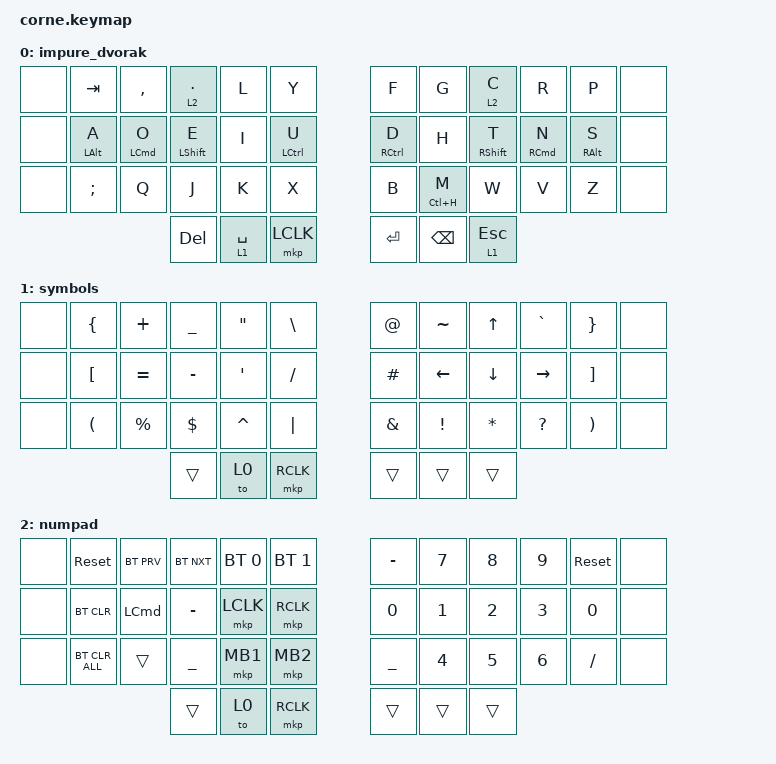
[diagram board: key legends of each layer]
/*
 * Copyright (c) 2020 The ZMK Contributors
 *
 * SPDX-License-Identifier: MIT
 */

#include <behaviors.dtsi>
#include <dt-bindings/zmk/bt.h>
#include <dt-bindings/zmk/keys.h>
#include <dt-bindings/zmk/pointing.h>

&mt { flavor = "tap-preferred"; };

/ {
    combos {
        compatible = "zmk,combos";

        capsword {
            bindings = <&caps_word>;
            key-positions = <4 7>;
        };

        vim_write {
            bindings = <&vim_write>;
            key-positions = <27 32>;
        };

        left_slide {
            bindings = <&kp LC(LEFT)>;
            key-positions = <25 19>;
        };

        right_slide {
            bindings = <&kp RC(RIGHT)>;
            key-positions = <34 16>;
        };

        sticky_shift {
            bindings = <&sk LEFT_SHIFT>;
            key-positions = <15 20>;
        };

        vim_wq {
            bindings = <&none>;
            key-positions = <32 26>;
        };
    };

    macros {
        vim_write: vim_write {
            compatible = "zmk,behavior-macro";
            #binding-cells = <0>;
            bindings = <&kp COLON &kp W &kp ENTER>;
            label = "VIM_WRITE";
        };

        vim_write_quit: vim_write_quit {
            compatible = "zmk,behavior-macro";
            #binding-cells = <0>;
            bindings = <&kp COLON &kp W &kp Q &kp ENTER>;
            label = "VIM_WRITE_QUIT";
        };
    };

    keymap {
        compatible = "zmk,keymap";

        impure_dvorak {
            // -----------------------------------------------------------------------------------------
            // |  TAB |  Q  |  W  |  E  |  R  |  T  |   |  Y  |  U   |  I  |  O  |  P  | BSPC |
            // | CTRL |  A  |  S  |  D  |  F  |  G  |   |  H  |  J   |  K  |  L  |  ;  |  '   |
            // | SHFT |  Z  |  X  |  C  |  V  |  B  |   |  N  |  M   |  ,  |  .  |  /  | ESC  |
            //                    | GUI | LWR | SPC |   | ENT | RSE  | ALT |

            bindings = <
&none  &kp TAB         &kp COMMA           &lt 2 DOT         &kp L        &kp Y          &kp F        &kp G          &lt 2 C            &kp R                &kp P            &none
&none  &mt LEFT_ALT A  &mt LEFT_COMMAND O  &mt LEFT_SHIFT E  &kp I        &mt LCTRL U    &mt RCTRL D  &kp H          &mt RIGHT_SHIFT T  &mt RIGHT_COMMAND N  &mt RIGHT_ALT S  &none
&none  &kp SEMI        &kp Q               &kp J             &kp K        &kp X          &kp B        &mt LC(H) M    &kp W              &kp V                &kp Z            &none
                                           &kp DELETE        &lt 1 SPACE  &mkp LCLK      &kp RETURN   &kp BACKSPACE  &lt 1 ESCAPE
            >;
        };

        symbols {
            // -----------------------------------------------------------------------------------------
            // |  TAB |  1  |  2  |  3  |  4  |  5  |   |  6  |  7  |  8  |  9  |  0  | BSPC |
            // | BTCLR| BT1 | BT2 | BT3 | BT4 | BT5 |   | LFT | DWN |  UP | RGT |     |      |
            // | SHFT |     |     |     |     |     |   |     |     |     |     |     |      |
            //                    | GUI |     | SPC |   | ENT |     | ALT |

            bindings = <
&none  &kp LEFT_BRACE        &kp PLUS     &kp UNDERSCORE  &kp DOUBLE_QUOTES  &kp BACKSLASH    &kp AT_SIGN    &kp TILDE        &kp UP_ARROW    &kp GRAVE     &kp RIGHT_BRACE        &none
&none  &kp LEFT_BRACKET      &kp EQUAL    &kp MINUS       &kp SINGLE_QUOTE   &kp SLASH        &kp POUND      &kp LEFT_ARROW   &kp DOWN_ARROW  &kp RIGHT     &kp RIGHT_BRACKET      &none
&none  &kp LEFT_PARENTHESIS  &kp PERCENT  &kp DOLLAR      &kp CARET          &kp PIPE         &kp AMPERSAND  &kp EXCLAMATION  &kp ASTERISK    &kp QUESTION  &kp RIGHT_PARENTHESIS  &none
                                          &trans          &to 0              &mkp RCLK        &trans         &trans           &trans
            >;
        };

        numpad {
            // -----------------------------------------------------------------------------------------
            // |  TAB |  !  |  @  |  #  |  $  |  %  |   |  ^  |  &  |  *  |  (  |  )  | BSPC |
            // | CTRL |     |     |     |     |     |   |  -  |  =  |  [  |  ]  |  \  |  `   |
            // | SHFT |     |     |     |     |     |   |  _  |  +  |  {  |  }  | "|" |  ~   |
            //                    | GUI |     | SPC |   | ENT |     | ALT |

            bindings = <
&none  &sys_reset      &bt BT_PRV        &bt BT_NXT      &bt BT_SEL 0  &bt BT_SEL 1    &kp MINUS  &kp N7  &kp N8  &kp N9  &sys_reset  &none
&none  &bt BT_CLR      &kp LEFT_COMMAND  &kp MINUS       &mkp LCLK     &mkp RCLK       &kp N0     &kp N1  &kp N2  &kp N3  &kp N0      &none
&none  &bt BT_CLR_ALL  &trans            &kp UNDERSCORE  &mkp MB1      &mkp MB2        &kp UNDER  &kp N4  &kp N5  &kp N6  &kp SLASH   &none
                                         &trans          &to 0         &mkp RCLK       &trans     &trans  &trans
            >;
        };
    };
};
